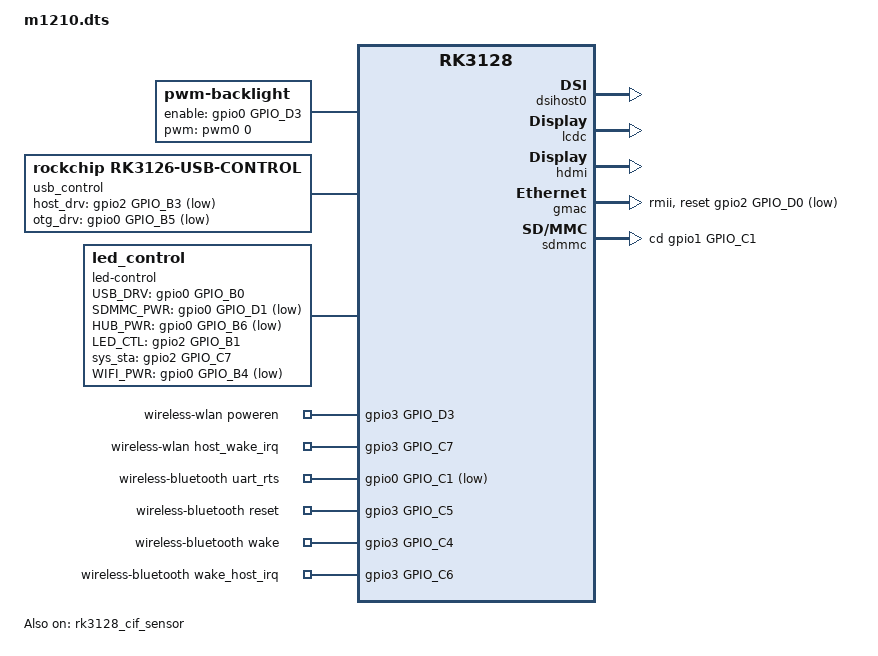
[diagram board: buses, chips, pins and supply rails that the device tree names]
/dts-v1/;

#include "rk3128.dtsi"
#include "rk3128-cif-sensor.dtsi"
#include "m1210.dtsi"
#include <dt-bindings/input/input.h>
//#include "lcd-b101ew05.dtsi"
//#include "lcd-mipi-1920x1080.dtsi"
//#include "lcd-mipi-1366x768.dtsi"
//#include "lcd-mipi-800x1280_jd9365.dtsi"
//#include "lcd-mipi-800x1280_ayf070.dtsi"
//#include "lcd-mipi-800x1280-hx1004c.dtsi"
//#include "lcd-box.dtsi"
//#include "screen-timing/toshiba/lcd-lvds-800x1280_ayf10.dtsi"
#include "screen-timing/mipi/lcd-mipi-zcs.dtsi"

/ {
	 compatible = "rockchip,rk3128";
        backlight: backlight {
                compatible = "pwm-backlight";
                pwms = <&pwm0 0 25000>;
                brightness-levels = <255 180 180 179 178 178 177 177 176 176 175 174 174 173 173 172 172 171 171 170 170 169 169 168 168 167 167 166 166 165 165 164 164 163 163 162 162 161 161 160 160 159 159 158 158 157 157 156 156 155 155 154 154 153 153 152 152 151 151 150 150 149 149 148 148 147 147 146 146 145 145 144 144 143 143 142 142 141 141 140 140 139 139 138 138 137 137 136 136 135 135 134 134 133 133 132 132 131 131 130 130 129 129 128 128 127 127 126 126 125 125 124 124 123 123 122 122 121 121 120 120 119 119 118 118 117 117 116 116 115 115 114 114 113 113 112 112 111 111 110 110 109 109 108 108 107 107 106 106 105 105 104 104 103 103 102 102 101 101 100 100 99 99 98 98 97 97 96 96 95 95 94 94 93 93 92 92 91 91 90 90 89 89 88 88 87 87 86 86 85 85 84 84 83 83 82 82 81 81 80 80 79 79 78 78 77 77 76 76 75 75 74 74 73 73 72 72 71 71 70 70 69 69 68 68 67 67 66 66 65 65 64 64 63 63 62 62 61 61 60 60 59 59 58 57 56 55 55 54 54 53 53 52 52 51 51>;
                default-brightness-level = <128>;
                enable-gpios = <&gpio0 GPIO_D3 GPIO_ACTIVE_HIGH>;
        };

	usb_control {
		compatible = "rockchip,rk3126-usb-control";
		pinctrl-names = "default";
		pinctrl-0 = <&host_en>;

		host_drv_gpio = <&gpio2 GPIO_B3 GPIO_ACTIVE_LOW>;
		otg_drv_gpio = <&gpio0 GPIO_B5 GPIO_ACTIVE_LOW>;

		rockchip,remote_wakeup;
		rockchip,usb_irq_wakeup;
	};

	led-control {
        	compatible = "led_control";
		pinctrl-names = "default";
                pinctrl-0 = <&sys_sta>;
        	USB_DRV_gpio = <&gpio0 GPIO_B0 GPIO_ACTIVE_HIGH>;
		SDMMC_PWR_gpio = <&gpio0 GPIO_D1 GPIO_ACTIVE_LOW>;
		HUB_PWR_gpio = <&gpio0 GPIO_B6 GPIO_ACTIVE_LOW>;
		LED_CTL_gpio = <&gpio2 GPIO_B1 GPIO_ACTIVE_HIGH>;
		sys_sta_gpio = <&gpio2 GPIO_C7 GPIO_ACTIVE_HIGH>;
		WIFI_PWR_gpio = <&gpio0 GPIO_B4 GPIO_ACTIVE_LOW>;
		//DVP_CTL_gpio = <&gpio0 GPIO_B1 GPIO_ACTIVE_LOW>;
        	status = "okay";
    	};

	wireless-wlan {		
		compatible = "wlan-platdata";
		wifi_chip_type = "ap6212";
		//sdio_vref = <3300>; //1800mv or 3300mv
		//keep_wifi_power_on;

		//WIFI,reset_gpio = <&gpio0 GPIO_B4 GPIO_ACTIVE_LOW>;	
		WIFI,poweren_gpio = <&gpio3 GPIO_D3 GPIO_ACTIVE_HIGH>;
		WIFI,host_wake_irq = <&gpio3 GPIO_C7 GPIO_ACTIVE_HIGH>;

		satus = "okay";	
	};

	wireless-bluetooth {
		compatible = "bluetooth-platdata";
		uart_rts_gpios = <&gpio0 GPIO_C1 GPIO_ACTIVE_LOW>;
		pinctrl-names = "default","rts_gpio";
		pinctrl-0 = <&uart0_rts>;
		pinctrl-1 = <&uart0_rts_gpio>;

		//BT,power_gpio = <&gpio1 GPIO_A3 GPIO_ACTIVE_LOW>;
		BT,reset_gpio = <&gpio3 GPIO_C5 GPIO_ACTIVE_HIGH>;
		BT,wake_gpio = <&gpio3 GPIO_C4 GPIO_ACTIVE_HIGH>;
		BT,wake_host_irq = <&gpio3 GPIO_C6 GPIO_ACTIVE_HIGH>;

		status = "okay";
	};
};

&pwm1 {
	status = "disabled";
};

&fb {
	rockchip,disp-mode = <NO_DUAL>;
        rockchip,uboot-logo-on = <0>;
};

&dsihost0 {
	status = "okay";
};


&rk_screen {
	display-timings = <&disp_timings>;
};

&watchdog {
        status = "disabled";
};

&lcdc {
	status = "okay";
	backlight = <&backlight>;
	pinctrl-names = "default", "gpio";
	pinctrl-0 = <&lcdc0_lcdc>;
	pinctrl-1 = <&lcdc0_gpio>;

	rockchip,fb-win-map = <FB_DEFAULT_ORDER>;
	power_ctr: power_ctr {
		rockchip,debug = <0>;

		lcd_en: lcd_en {
			rockchip,power_type = <GPIO>;
			gpios = <&gpio2 GPIO_C6 GPIO_ACTIVE_HIGH>;
			rockchip,delay = <100>;
		};

		lcd_rst: lcd_rst {
			rockchip,power_type = <GPIO>;
                        gpios = <&gpio0 GPIO_B3 GPIO_ACTIVE_HIGH>;
                        rockchip,delay = <100>;
		};

	};
};

&hdmi {
        status = "okay";
};

&gmac_clkin {
        clock-frequency = <50000000>;
};

&gmac {
        reset-gpio = <&gpio2 GPIO_D0 GPIO_ACTIVE_LOW>;
        //phyirq-gpio = <&gpio0 GPIO_D1 GPIO_ACTIVE_LOW>;
        phy-mode = "rmii";
        clock_in_out = "output";
        tx_delay = <0x25>;
        rx_delay = <0x10>;
};

&sdmmc {
	cd-gpios = <&gpio1 GPIO_C1 GPIO_ACTIVE_HIGH>;/*CD GPIO*/
	status = "okay";
};

&codec {
	spk_ctl_io = <&gpio0 GPIO_D6 GPIO_ACTIVE_HIGH>;
	hp_ctl_io = <&gpio0 GPIO_D4 GPIO_ACTIVE_HIGH>;
        spk-mute-delay = <200>;
        hp-mute-delay = <100>;
        rk312x_for_mid = <1>;
        is_rk3128 = <1>;
        spk_volume = <25>;
        hp_volume = <25>;
        capture_volume = <26>;
        gpio_debug = <1>;
        codec_hp_det = <1>;
};

&rk3128_cif_sensor{
	status = "okay";
};


&clk_core_dvfs_table {
	operating-points = <
		/* KHz    uV */
		216000 925000
		408000 925000
		600000 950000
		696000 975000
		816000 1050000
		1008000 1175000
		1200000 1300000
		1296000 1350000
		1320000 1375000
		>;
	virt-temp-limit-1-cpu-busy = <
	/* target-temp	limit-freq */
		75	1008000
		85	1200000
		95	1200000
		100	1200000
		>;
	virt-temp-limit-2-cpu-busy = <
	/* target-temp	limit-freq */
		75	912000
		85	1008000
		95	1104000
		100	1200000
		>;
	virt-temp-limit-3-cpu-busy = <
	/* target-temp	limit-freq */
		75	816000
		85	912000
		95	100800
		100	110400
		>;
	virt-temp-limit-4-cpu-busy = <
	/* target-temp	limit-freq */
		75	816000
		85	912000
		95	100800
		100	110400
		>;
	temp-limit-enable = <1>;
	target-temp = <85>;
	status="okay";
};

&clk_gpu_dvfs_table {
	operating-points = <
		/* KHz    uV */
		200000 950000
		300000 975000
		400000 1075000
		//480000 1175000
		>;
	status="okay";
};

&clk_ddr_dvfs_table {
	operating-points = <
		/* KHz    uV */
		//200000 950000
		//300000 950000
		400000 1000000
		//533000 1200000
		>;

	freq-table = <
		/*status		freq(KHz)*/
		SYS_STATUS_NORMAL	400000
		SYS_STATUS_SUSPEND	400000
		SYS_STATUS_VIDEO_1080P  400000
		SYS_STATUS_VIDEO_4K     400000
		SYS_STATUS_PERFORMANCE  400000
		SYS_STATUS_DUALVIEW	400000
		SYS_STATUS_BOOST	400000
		SYS_STATUS_ISP		400000
		>;
	auto-freq-table = <
		//240000
		//324000
		396000
		//528000
		>;
	auto-freq=<0>;
	status="okay";
};

&remotectl {
        handle_cpu_id = <1>;
	ir_key2{
                rockchip,usercode = <0xfe01>;
                rockchip,key_table =
                        <0xfe   KEY_POWER>,
                        <0xd8   KEY_MENU>,
                        <0xd9   KEY_BACK>,
                        <0xda   KEY_HOME>,
                        <0xd6   KEY_VOLUMEUP>,
                        <0xd7   KEY_VOLUMEDOWN>,
                        <0xf8   KEY_ENTER>,
                        <0xfc   KEY_UP>,
                        <0xf7   KEY_DOWN>,
                        <0xfa   KEY_LEFT>,
                        <0xfd   388>,
                        <0xf9   KEY_RIGHT>;
        };
};
